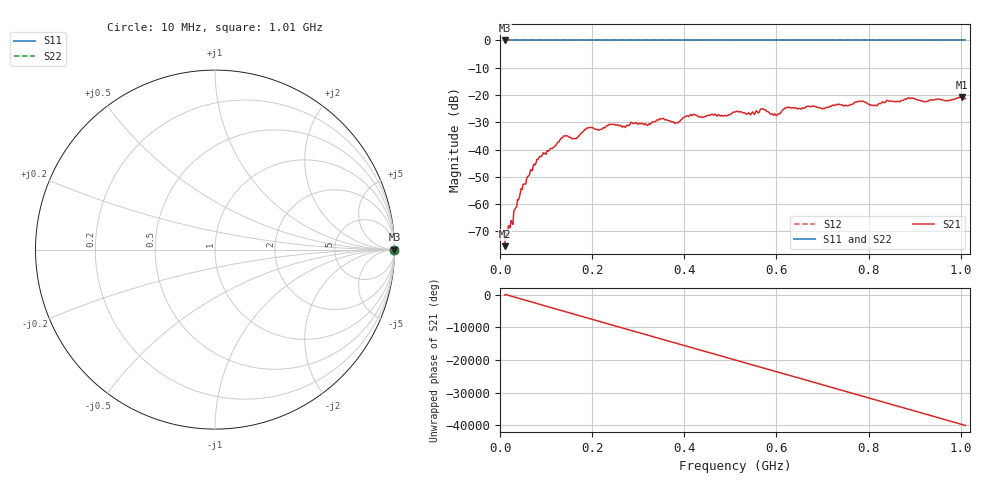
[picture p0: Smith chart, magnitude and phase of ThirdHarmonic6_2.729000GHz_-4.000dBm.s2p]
! 8/17/2025 6:41:56 AM
! C:\ANRITSUVNA\TEMP\TEMP.S2P
! CHANNEL.1
! TR.MEASUREMENT
! RAW.DATA
! RF.CORRECTION.OFF
! AVERAGING.OFF
! IF.BANDWIDTH: 5KHZ
! SWEEPTYPE:  FREQ.SWEEP(Linear)
! Reference Plane Port Info
! PORT:  PORT1  PORT2
! DISTANCE:  0  m  0  m
! TIME:  0  s  0  s
! PHASE.OFFSET:  0  deg.  0  deg.
! LOSS:  0  dB  0  dB
! REF.LOSS:  0  dB  0  dB
! REF.FREQ:  0  Hz  0  Hz
! Power Info
! POWER:  -20  dBm  -20  dBm
! EFF.POWER:  -20  dBm  -20  dBm
! SOURCE.ATTEN:  0  dB  0  dB
! TEST.ATTEN:  0  dB  0  dB
# GHZ S RI R 50.0
! FREQ.GHZ  S11RE  S11IM  S21RE  S21IM  S12RE  S12IM  S22RE  S22IM
!; PortSelection: Port_12
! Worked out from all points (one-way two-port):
!   501 points, 10 MHz to 1.01 GHz, reference 50 ohm
!   highest |S21| = -20.71 dB at 1.002 GHz (marker M1); lowest = -75.4 dB at 10 MHz (marker M2)
!   lowest |S11| = 0.0 dB at 10 MHz (marker M3)
!   |S11| at or under -10 dB: nowhere
!   |S22| runs from 0.0 to 0.0 dB; largest |S21 - S12| = 1.1
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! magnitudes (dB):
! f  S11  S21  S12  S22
! 10 MHz  0.0  -75.4  0.0  0.0
! 48 MHz  0.0  -54.6  0.0  0.0
! 84 MHz  0.0  -43.2  0.0  0.0
! 136 MHz  0.0  -35.5  0.0  0.0
! 164 MHz  0.0  -36.0  0.0  0.0
! 178 MHz  0.0  -33.7  0.0  0.0
! 194 MHz  0.0  -31.9  0.0  0.0
! 322 MHz  0.0  -30.9  0.0  0.0
! 344 MHz  0.0  -29.2  0.0  0.0
! 384 MHz  0.0  -30.1  0.0  0.0
! 416 MHz  0.0  -27.4  0.0  0.0
! 510 MHz  0.0  -26.2  0.0  0.0
! 540 MHz  0.0  -26.5  0.0  0.0
! 570 MHz  0.0  -25.1  0.0  0.0
! 598 MHz  0.0  -27.3  0.0  0.0
! 622 MHz  0.0  -24.6  0.0  0.0
! 678 MHz  0.0  -24.2  0.0  0.0
! 784 MHz  0.0  -22.4  0.0  0.0
! 814 MHz  0.0  -23.7  0.0  0.0
! 844 MHz  0.0  -22.2  0.0  0.0
! 1.002 GHz  0.0  -20.7  0.0  0.0
! 1.01 GHz  0.0  -21.3  0.0  0.0
